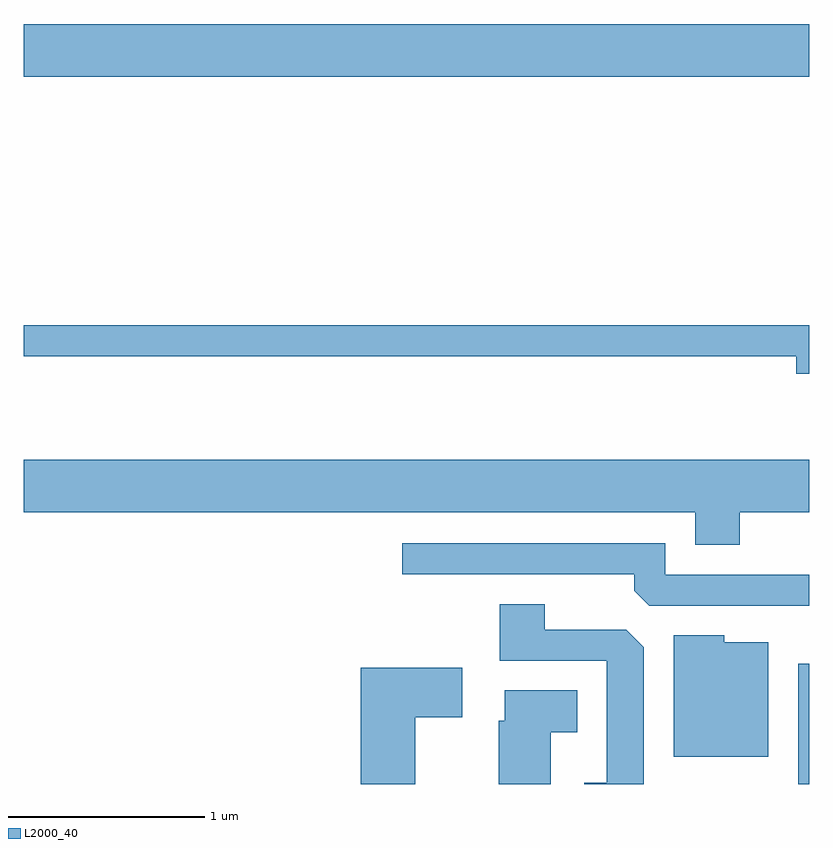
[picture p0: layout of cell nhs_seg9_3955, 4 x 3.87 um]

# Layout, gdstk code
import gdstk
lib = gdstk.Library(unit=1e-6, precision=1e-09)
def R(c, l, rs):  # rectangles x0, y0, x1, y1
    for r in rs: c.add(gdstk.rectangle(r[:2], r[2:], *l))
def P(c, l, *ps):  # polygons
    for p in ps: c.add(gdstk.Polygon(p, *l))
L2000_40 = (2000, 40)

nhs_seg9_3955 = lib.new_cell('nhs_seg9_3955')
R(nhs_seg9_3955, L2000_40, [(305.556,1990.432,305.611,1991.044), (301.611,1994.036,305.611,1994.304)])
P(nhs_seg9_3955, L2000_40, [(305.611,1992.769),(301.611,1992.769),(301.611,1992.611),(305.546,1992.611),(305.546,1992.521),(305.611,1992.521)],
  [(305.259,1991.816),(305.611,1991.816),(305.611,1992.084),(301.611,1992.084),(301.611,1991.816),(305.031,1991.816),(305.031,1991.651),(305.259,1991.651)],
  [(305.611,1991.499),(304.879,1991.499),(304.879,1991.659),(303.538,1991.659),(303.538,1991.501),(304.721,1991.501),(304.721,1991.417),(304.797,1991.341),(305.611,1991.341)],
  [(304.769,1991.129),(304.679,1991.219),(304.264,1991.219),(304.264,1991.349),(304.036,1991.349),(304.036,1991.061),(304.581,1991.061),(304.581,1990.439),(304.466,1990.439),(304.466,1990.432),(304.769,1990.432)],
  [(305.404,1991.154),(305.179,1991.154),(305.179,1991.189),(304.921,1991.189),(304.921,1990.571),(305.404,1990.571)],
  [(303.604,1990.771),(303.844,1990.771),(303.844,1991.024),(303.326,1991.024),(303.326,1990.432),(303.604,1990.432)],
  [(304.294,1990.696),(304.429,1990.696),(304.429,1990.909),(304.061,1990.909),(304.061,1990.754),(304.031,1990.754),(304.031,1990.432),(304.294,1990.432)])

lib.write_gds('nhs_seg9_3955.gds')
